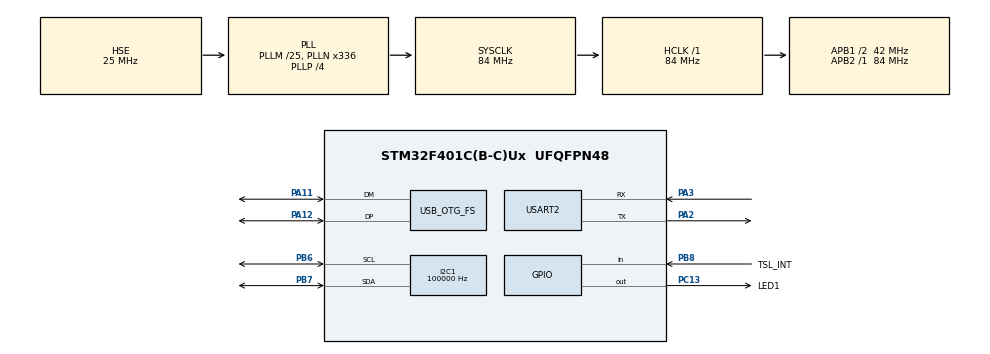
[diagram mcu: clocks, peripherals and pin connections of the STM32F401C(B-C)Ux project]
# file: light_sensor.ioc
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I2C1.ClockSpeed=100000
I2C1.I2C_Mode=I2C_Standard
I2C1.NoStretchMode=I2C_NOSTRETCH_DISABLE
Mcu.Family=STM32F4
Mcu.Name=STM32F401C(B-C)Ux
Mcu.Package=UFQFPN48
NVIC.I2C1_ER_IRQn=true\:0\:0\:false\:false\:true\:true\:true
NVIC.OTG_FS_IRQn=true\:0\:0\:false\:false\:true\:false\:true
NVIC.PriorityGroup=NVIC_PRIORITYGROUP_4
PA11.Mode=Device_Only
PA11.Signal=USB_OTG_FS_DM
PA12.Mode=Device_Only
PA12.Signal=USB_OTG_FS_DP
PA13.Mode=Trace_Asynchronous_SW
PA13.Signal=SYS_JTMS-SWDIO
PA14.Mode=Trace_Asynchronous_SW
PA14.Signal=SYS_JTCK-SWCLK
PA2.Mode=Asynchronous
PA2.Signal=USART2_TX
PA3.Mode=Asynchronous
PA3.Signal=USART2_RX
PB3.Mode=Trace_Asynchronous_SW
PB3.Signal=SYS_JTDO-SWO
PB6.Mode=I2C
PB6.Signal=I2C1_SCL
PB7.Mode=I2C
PB7.Signal=I2C1_SDA
PB8.GPIO_Label=TSL_INT
PB8.Signal=GPIO_Input
PC13-ANTI_TAMP.GPIO_Label=LED1
PC13-ANTI_TAMP.PinState=GPIO_PIN_SET
PC13-ANTI_TAMP.Signal=GPIO_Output
PH0\ -\ OSC_IN.Mode=HSE-External-Oscillator
PH0\ -\ OSC_IN.Signal=RCC_OSC_IN
PH1\ -\ OSC_OUT.Mode=HSE-External-Oscillator
PH1\ -\ OSC_OUT.Signal=RCC_OSC_OUT
ProjectManager.HeapSize=0x200
ProjectManager.StackSize=0x400
ProjectManager.TargetToolchain=Makefile
RCC.48MHZClocksFreq_Value=48000000
RCC.AHBFreq_Value=84000000
RCC.APB1CLKDivider=RCC_HCLK_DIV2
RCC.APB1Freq_Value=42000000
RCC.APB1TimFreq_Value=84000000
RCC.APB2Freq_Value=84000000
RCC.APB2TimFreq_Value=84000000
RCC.CortexFreq_Value=84000000
RCC.HCLKFreq_Value=84000000
RCC.HSE_VALUE=25000000
RCC.HSI_VALUE=16000000
RCC.LSE_VALUE=32768
RCC.PLLM=25
RCC.PLLN=336
RCC.PLLP=RCC_PLLP_DIV4
RCC.PLLQ=7
RCC.SYSCLKFreq_VALUE=84000000
RCC.SYSCLKSource=RCC_SYSCLKSOURCE_PLLCLK
RCC.VCOOutputFreq_Value=336000000
USART2.VirtualMode=VM_ASYNC
USB_DEVICE.CLASS_NAME_FS=CDC
USB_DEVICE.MANUFACTURER_STRING=Bonny
USB_DEVICE.PID_CDC_FS=0xE1E5
USB_DEVICE.PRODUCT_STRING_CDC_FS=Ambient Light Sensor
USB_DEVICE.VID=0xDEAD
USB_DEVICE.VirtualMode=Cdc
USB_DEVICE.VirtualModeFS=Cdc_FS
USB_OTG_FS.Sof_enable=DISABLE
USB_OTG_FS.VirtualMode=Device_Only
USB_OTG_FS.low_power_enable=DISABLE
USB_OTG_FS.lpm_enable=ENABLE
VP_USB_DEVICE_VS_USB_DEVICE_CDC_FS.Mode=CDC_FS
board=custom

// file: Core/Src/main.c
/* USER CODE BEGIN Header */
/**
 ******************************************************************************
 * @file           : main.c
 * @brief          : Main program body
 ******************************************************************************
 * @attention
 *
 * <h2><center>&copy; Copyright (c) 2021 STMicroelectronics.
 * All rights reserved.</center></h2>
 *
 * This software component is licensed by ST under BSD 3-Clause license,
 * the "License"; You may not use this file except in compliance with the
 * License. You may obtain a copy of the License at:
 *                        opensource.org/licenses/BSD-3-Clause
 *
 ******************************************************************************
 */
/* USER CODE END Header */
#include "main.h"
#include "i2c.h"
#include "usart.h"
#include "usb_device.h"
#include "gpio.h"

/* USER CODE BEGIN Includes */
#include <stdio.h>
#include <stdlib.h>
#include <string.h>
#include <usbd_cdc_if.h>

#include "tsl2561.h"

/* USER CODE END Includes */

void SystemClock_Config(void);
/* USER CODE BEGIN PFP */
void blink(uint8_t count, uint16_t *length);

/* USER CODE END PFP */

/* USER CODE BEGIN 0 */
void blink(uint8_t count, uint16_t length[])
{
    HAL_GPIO_WritePin(LED1_GPIO_Port, LED1_Pin, GPIO_PIN_SET);

    for (uint8_t i = 0; i < count; i++)
    {
        HAL_Delay(length[i]);
        HAL_GPIO_WritePin(LED1_GPIO_Port, LED1_Pin, GPIO_PIN_RESET);
        HAL_Delay(length[i]);
        HAL_GPIO_WritePin(LED1_GPIO_Port, LED1_Pin, GPIO_PIN_SET);
    }
}

/* USER CODE END 0 */

int main(void)
{

  /* MCU Configuration--------------------------------------------------------*/

  /* Reset of all peripherals, Initializes the Flash interface and the Systick. */
  HAL_Init();

  /* Configure the system clock */
  SystemClock_Config();

  /* Initialize all configured peripherals */
  MX_GPIO_Init();
  MX_I2C1_Init();
  MX_USART2_UART_Init();
  MX_USB_DEVICE_Init();
  /* USER CODE BEGIN 2 */

    HAL_GPIO_WritePin(LED1_GPIO_Port, LED1_Pin, GPIO_PIN_SET);

    tsl2561 tsl = {.interface = &hi2c1,
                   .address = TSL2561_ADDR_FLOAT,
                   .autogain = true,
                   .gain = TSL2561_GAIN_16X,
                   .inttime = TSL2561_INTTIME_402MS,
                   .int_port = TSL_INT_GPIO_Port,
                   .int_pin = TSL_INT_Pin};

    while (tsl2561_init(&tsl) != TSL2561_OK)
    {
        HAL_UART_Transmit(&huart2, (uint8_t *)"INIT ERROR\n", 6, 12);
        HAL_Delay(100);
    }

    uint16_t pattern[4] = {150, 150, 150, 150};
    blink(3, pattern);

    HAL_UART_Transmit(&huart2, (uint8_t *)"READY\n", 6, 10);
  /* USER CODE END 2 */

  /* Infinite loop */
  /* USER CODE BEGIN WHILE */
    while (1)
    {
        char c[11] = {'\0'};

        uint16_t lux;
        tsl2561_status status = tsl2561_get_lux(&tsl, &lux);

        switch (status)
        {
        case TSL2561_TIMEOUT:
            HAL_UART_Transmit_IT(&huart2, (uint8_t *)"TIMEOUT\n", 8);
            CDC_Transmit_FS((uint8_t *)"TIMEOUT\n", 9);
            blink(4, pattern);
            HAL_Delay(1000);
            break;
        case TSL2561_SENSOR_CLIPPING:
            HAL_UART_Transmit_IT(&huart2, (uint8_t *)"CLIPPING\n", 9);
            CDC_Transmit_FS((uint8_t *)"CLIPPING\n", 10);
            blink(2, pattern);
            HAL_Delay(1000);
            break;
        case TSL2561_OK:
            itoa(lux, c, 10);
            c[strlen(c)] = '\n';

            CDC_Transmit_FS((uint8_t *)c, strlen(c));

            HAL_UART_Transmit(&huart2, (uint8_t *)c, strlen(c), 10);

            break;
        }
    /* USER CODE END WHILE */

    }
}

void SystemClock_Config(void)
{
  RCC_OscInitTypeDef RCC_OscInitStruct = {0};
  RCC_ClkInitTypeDef RCC_ClkInitStruct = {0};

  /** Configure the main internal regulator output voltage
  */
  __HAL_RCC_PWR_CLK_ENABLE();
  __HAL_PWR_VOLTAGESCALING_CONFIG(PWR_REGULATOR_VOLTAGE_SCALE2);
  /** Initializes the RCC Oscillators according to the specified parameters
  * in the RCC_OscInitTypeDef structure.
  */
  RCC_OscInitStruct.OscillatorType = RCC_OSCILLATORTYPE_HSE;
  RCC_OscInitStruct.HSEState = RCC_HSE_ON;
  RCC_OscInitStruct.PLL.PLLState = RCC_PLL_ON;
  RCC_OscInitStruct.PLL.PLLSource = RCC_PLLSOURCE_HSE;
  RCC_OscInitStruct.PLL.PLLM = 25;
  RCC_OscInitStruct.PLL.PLLN = 336;
  RCC_OscInitStruct.PLL.PLLP = RCC_PLLP_DIV4;
  RCC_OscInitStruct.PLL.PLLQ = 7;
  if (HAL_RCC_OscConfig(&RCC_OscInitStruct) != HAL_OK)
  {
    Error_Handler();
  }
  /** Initializes the CPU, AHB and APB buses clocks
  */
  RCC_ClkInitStruct.ClockType = RCC_CLOCKTYPE_HCLK|RCC_CLOCKTYPE_SYSCLK
                              |RCC_CLOCKTYPE_PCLK1|RCC_CLOCKTYPE_PCLK2;
  RCC_ClkInitStruct.SYSCLKSource = RCC_SYSCLKSOURCE_PLLCLK;
  RCC_ClkInitStruct.AHBCLKDivider = RCC_SYSCLK_DIV1;
  RCC_ClkInitStruct.APB1CLKDivider = RCC_HCLK_DIV2;
  RCC_ClkInitStruct.APB2CLKDivider = RCC_HCLK_DIV1;

  if (HAL_RCC_ClockConfig(&RCC_ClkInitStruct, FLASH_LATENCY_2) != HAL_OK)
  {
    Error_Handler();
  }
}

void Error_Handler(void)
{
  /* USER CODE BEGIN Error_Handler_Debug */
    /* User can add his own implementation to report the HAL error return state
	 */
    __disable_irq();
    while (1)
    {
    }
  /* USER CODE END Error_Handler_Debug */
}

#ifdef  USE_FULL_ASSERT
/**
  * @brief  Reports the name of the source file and the source line number
  *         where the assert_param error has occurred.
  * @param  file: pointer to the source file name
  * @param  line: assert_param error line source number
  * @retval None
  */
void assert_failed(uint8_t *file, uint32_t line)
{
  /* USER CODE BEGIN 6 */
    /* User can add his own implementation to report the file name and line
	   number,
	   ex: printf("Wrong parameters value: file %s on line %d\r\n", file, line)
	 */
  /* USER CODE END 6 */
}
#endif /* USE_FULL_ASSERT */

/************************ (C) COPYRIGHT STMicroelectronics *****END OF FILE****/
